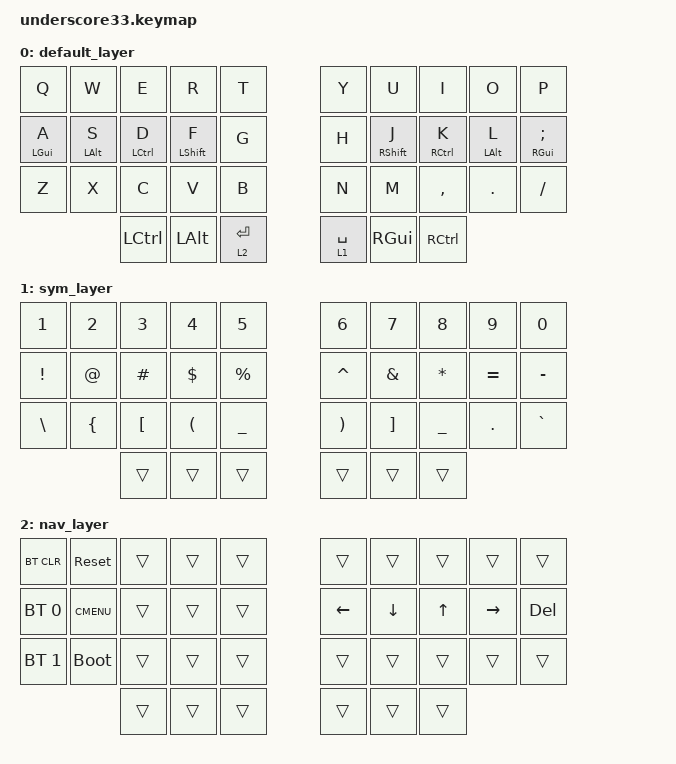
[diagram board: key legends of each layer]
/*
 * Copyright (c) 2020 The ZMK Contributors
 *
 * SPDX-License-Identifier: MIT
 */
// This key-map file WILL NOT WORK FOR YOU, you will need to modify it. I really do not recommend adapting to it.
// This key-map file is set-up to be the split space layout.
// I strongly urge you to customise your firmware to suit your usage.
// Please feel free to join the ZMK server at https://discord.gg/TdRMQaTYdF for help.

#include <behaviors.dtsi>
#include <dt-bindings/zmk/bt.h>
#include <dt-bindings/zmk/keys.h>

/ {
    behaviors {
        hm: homerow_mods {
            compatible = "zmk,behavior-hold-tap";
            label = "HOMEROW_MODS";
            #binding-cells = <2>;
            tapping_term_ms = <300>;
            flavor = "tap-preferred";
            bindings = <&kp>, <&kp>;
        };

        combos {
            compatible = "zmk,combos";

            combo_del {
                timeout-ms = <50>;
                key-positions = <18 19>;
                bindings = <&kp DEL>;
                layers = <1>;
            };

            combo_bspc {
                timeout-ms = <50>;
                key-positions = <8 9>;
                bindings = <&kp BKSP>;
                layers = <0 1>;
            };

            combo_tab {
                timeout-ms = <50>;
                key-positions = <0 1>;
                bindings = <&kp TAB>;
                layers = <0>;
            };

            combo_esc {
                timeout-ms = <50>;
                key-positions = <1 2>;
                bindings = <&kp ESC>;
                layers = <0>;
            };
        };
    };

    keymap {
        compatible = "zmk,keymap";

        default_layer {
            // -----------------------------------------------------------------------------------------
            // |  Q  |  W  |  E  |  R  |  T   |  Y  |  U   |  I  |  O  |  P  |
            // |  A  |  S  |  D  |  F  |  G   |  H  |  J   |  K  |  L  |  ;  |
            // |  Z  |  X  |  C  |  V  |  B   |  N  |  M   |  ,  |  .  |  /  |
            //             | CTL | ALT |  ENT | SPC | GUI  | CTL |

            bindings = <
&kp Q       &kp W       &kp E        &kp R        &kp T     &kp Y      &kp U        &kp I        &kp O       &kp P
&hm LGUI A  &hm LALT S  &hm LCTRL D  &hm LSHFT F  &kp G     &kp H      &hm RSHFT J  &hm RCTRL K  &hm LALT L  &hm RGUI SEMI
&kp Z       &kp X       &kp C        &kp V        &kp B     &kp N      &kp M        &kp COMMA    &kp DOT     &kp FSLH
&kp LCTRL   &kp LALT    &lt 2 RET    &lt 1 SPC    &kp RGUI  &kp RCTRL
            >;
        };

        sym_layer {
            // -----------------------------------------------------------------------------------------
            // |  1  |  2  |  3  |  4  |  5  |  6  |  7  |  8  |  9  |  0  |
            // |  !  |  @  |  #  |  $  |  %  |  ^  |  &  |  *  |  =  |  -  |
            // |  \  |  {  |  [  |  (  |  _  |  )  |  ]  |  }  |  .  |  `  |
            //             | CTL | ALT |  ENT | SPC | GUI  | CTL |

            bindings = <
&kp N1    &kp N2    &kp N3    &kp N4      &kp N5     &kp N6     &kp N7    &kp N8     &kp N9     &kp N0
&kp EXCL  &kp AT    &kp HASH  &kp DOLLAR  &kp PRCNT  &kp CARET  &kp AMPS  &kp STAR   &kp EQUAL  &kp MINUS
&kp BSLH  &kp LBRC  &kp LBKT  &kp LPAR    &kp UNDER  &kp RPAR   &kp RBKT  &kp UNDER  &kp DOT    &kp GRAVE
&trans    &trans    &trans    &trans      &trans     &trans
            >;
        };

        nav_layer {
            // -----------------------------------------------------------------------------------------
            // |BTCLR| RST |     |      |     |      | PGDN |  UP  | PGUP |      |
            // | BT0 |CMENU|     |      |     | HOME | LEFT | DOWN |RIGHT | END  |
            // | BT1 | BOOT|     |      |     |      |      |      |      |      |
            //             | CTL | ALT |  ENT | SPC | GUI  | CTL |

            bindings = <
&bt BT_CLR    &sys_reset   &trans  &trans  &trans  &trans    &trans    &trans        &trans     &trans
&bt BT_SEL 0  &kp K_CMENU  &trans  &trans  &trans  &kp LEFT  &kp DOWN  &kp UP_ARROW  &kp RIGHT  &kp DEL
&bt BT_SEL 1  &bootloader  &trans  &trans  &trans  &trans    &trans    &trans        &trans     &trans
&trans        &trans       &trans  &trans  &trans  &trans
            >;
        };
    };
};
